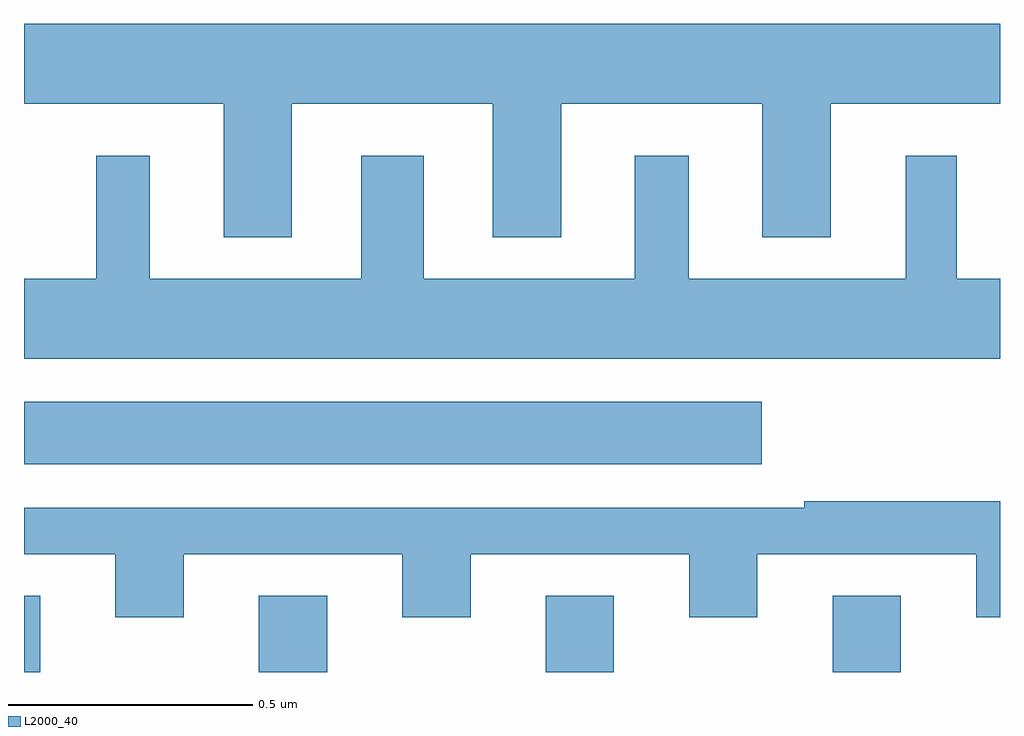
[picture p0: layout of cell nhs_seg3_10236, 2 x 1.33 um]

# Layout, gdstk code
import gdstk
lib = gdstk.Library(unit=1e-6, precision=1e-09)
def R(c, l, rs):  # rectangles x0, y0, x1, y1
    for r in rs: c.add(gdstk.rectangle(r[:2], r[2:], *l))
def A(c, l, x, y, w, h, nx, ny, dx, dy):  # array of equal rectangles
    R(c, l, [(x+i*dx, y+j*dy, x+i*dx+w, y+j*dy+h) for i in range(nx) for j in range(ny)])
def P(c, l, *ps):  # polygons
    for p in ps: c.add(gdstk.Polygon(p, *l))
L2000_40 = (2000, 40)

nhs_seg3_10236 = lib.new_cell('nhs_seg3_10236')
A(nhs_seg3_10236, L2000_40, 238.481, 718.4, 0.14, 0.156, 3, 1, 0.588, 0)
R(nhs_seg3_10236, L2000_40, [(238,718.4,238.033,718.556), (238,718.826,239.512,718.954)])
P(nhs_seg3_10236, L2000_40, [(238.549,719.564),(238.961,719.564),(238.961,719.291),(239.101,719.291),(239.101,719.564),(239.513,719.564),(239.513,719.291),(239.653,719.291),(239.653,719.564),(240,719.564),(240,719.728),(238,719.728),(238,719.564),(238.409,719.564),(238.409,719.291),(238.549,719.291)],
  [(240,719.206),(239.911,719.206),(239.911,719.458),(239.807,719.458),(239.807,719.206),(239.362,719.206),(239.362,719.458),(239.252,719.458),(239.252,719.206),(238.819,719.206),(238.819,719.458),(238.691,719.458),(238.691,719.206),(238.258,719.206),(238.258,719.458),(238.148,719.458),(238.148,719.206),(238,719.206),(238,719.042),(240,719.042)],
  [(238.327,718.641),(238.775,718.641),(238.775,718.512),(238.915,718.512),(238.915,718.641),(239.363,718.641),(239.363,718.512),(239.503,718.512),(239.503,718.641),(239.951,718.641),(239.951,718.512),(240,718.512),(240,718.75),(239.599,718.75),(239.599,718.737),(238,718.737),(238,718.641),(238.187,718.641),(238.187,718.512),(238.327,718.512)])

lib.write_gds('nhs_seg3_10236.gds')
